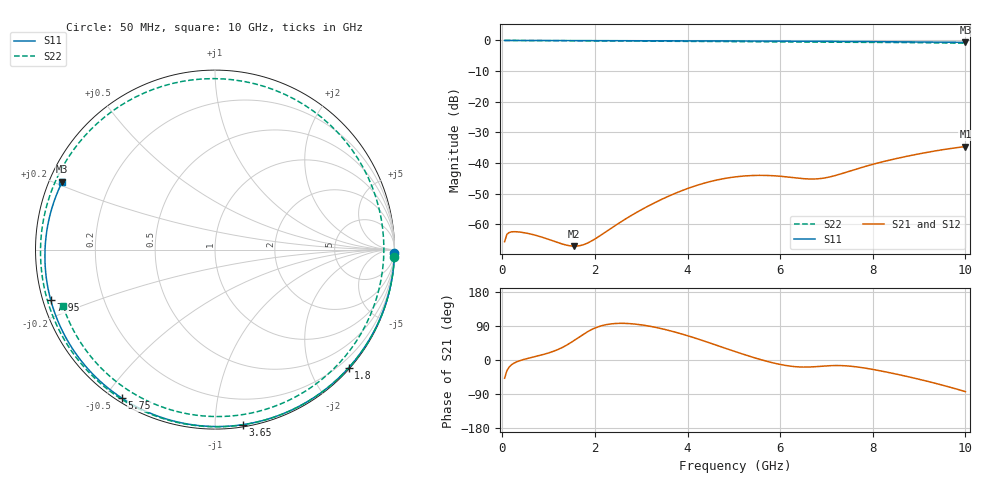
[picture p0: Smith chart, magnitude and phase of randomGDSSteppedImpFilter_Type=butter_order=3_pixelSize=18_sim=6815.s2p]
! freq	dB(S11)	phase(S11)	dB(S12)	phase(S12)
!  dB(S21)	phase(S21)	dB(S22)	phase(S22)
!S-par simulation data
#  GHz  S  DB  R 50
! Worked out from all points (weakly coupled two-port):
!   200 points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, 50 MHz to 10 GHz, reference 50 ohm
!   highest |S21| = -34.62 dB at 10 GHz (marker M1); lowest = -67.1 dB at 1.55 GHz (marker M2)
!   lowest |S11| = -0.6 dB at 10 GHz (marker M3), VSWR 28.08, Z = 1.86 + j10.6 ohm
!   |S11| at or under -10 dB: nowhere
!   |S22| runs from -0.9 to 0.0 dB; largest |S21 - S12| = 0
!   S11 on the Smith chart (normalised r, x): 50 MHz: 0, -97; 1.8 GHz: 0.02, -2.64; 3.65 GHz: 0.01, -1.17; 5.75 GHz: 0.02, -0.55; 7.95 GHz: 0.02, -0.15; 10 GHz: 0.04, +0.21
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0.05  -0.00 -1.2  -65.60 -48.0  -65.60 -48.0  -0.00 -2.4
0.1  -0.00 -2.4  -63.21 -28.1  -63.21 -28.1  -0.00 -4.7
0.3  -0.00 -7.1  -62.37 -5.4  -62.37 -5.4  -0.01 -14.1
0.95  -0.03 -22.2  -64.59 16.8  -64.59 16.8  -0.05 -44.3
1.55  -0.05 -35.8  -67.08 51.5  -67.08 51.5  -0.09 -71.4
1.75  -0.05 -40.3  -66.60 67.9  -66.60 67.9  -0.10 -80.3
1.8  -0.05 -41.4  -66.32 71.7  -66.32 71.7  -0.10 -82.6
2.55  -0.07 -57.9  -59.26 96.8  -59.26 96.8  -0.14 -115.6
3.4  -0.10 -75.9  -52.11 83.8  -52.11 83.8  -0.20 -153.7
3.65  -0.11 -81.0  -50.39 76.3  -50.39 76.3  -0.22 -165.5
4.35  -0.13 -95.1  -46.57 50.4  -46.57 50.4  -0.29 158.9
4.7  -0.15 -101.9  -45.29 35.8  -45.29 35.8  -0.33 139.0
5.05  -0.17 -108.7  -44.45 21.3  -44.45 21.3  -0.37 117.5
5.4  -0.18 -115.4  -44.04 7.6  -44.04 7.6  -0.41 94.2
5.75  -0.20 -122.0  -44.04 -4.6  -44.04 -4.6  -0.46 69.4
6.25  -0.24 -131.3  -44.67 -16.7  -44.67 -16.7  -0.50 32.6
6.7  -0.27 -139.6  -45.18 -18.1  -45.18 -18.1  -0.53 0.1
7.35  -0.32 -151.7  -43.33 -14.9  -43.33 -14.9  -0.56 -42.1
7.95  -0.38 -162.9  -40.59 -23.7  -40.59 -23.7  -0.60 -75.1
8.35  -0.42 -170.5  -39.06 -33.1  -39.06 -33.1  -0.64 -94.3
9.2  -0.52 172.7  -36.41 -56.8  -36.41 -56.8  -0.75 -129.8
10  -0.62 156.1  -34.62 -83.4  -34.62 -83.4  -0.89 -159.6
